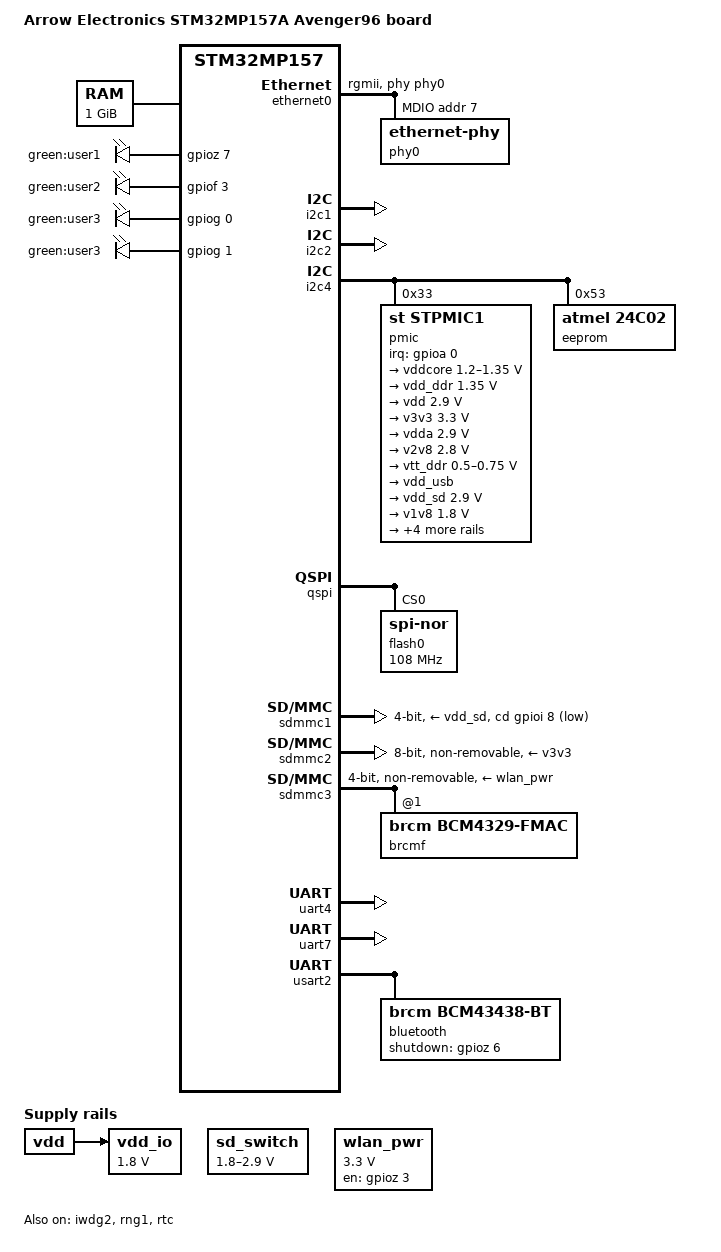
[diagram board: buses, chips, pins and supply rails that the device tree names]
// SPDX-License-Identifier: (GPL-2.0 OR BSD-3-Clause)
/*
 * Copyright (C) Linaro Ltd 2019 - All Rights Reserved
 * Author: Manivannan Sadhasivam <manivannan.sadhasivam@linaro.org>
 */

/dts-v1/;

#include "stm32mp157.dtsi"
#include "stm32mp15-pinctrl.dtsi"
#include "stm32mp15xxac-pinctrl.dtsi"
#include <dt-bindings/gpio/gpio.h>
#include <dt-bindings/mfd/st,stpmic1.h>

/ {
	model = "Arrow Electronics STM32MP157A Avenger96 board";
	compatible = "arrow,stm32mp157a-avenger96", "st,stm32mp157";

	aliases {
		ethernet0 = &ethernet0;
		mmc0 = &sdmmc1;
		serial0 = &uart4;
		serial1 = &uart7;
		serial2 = &usart2;
		spi0 = &qspi;
	};

	chosen {
		stdout-path = "serial0:115200n8";
	};

	memory@c0000000 {
		device_type = "memory";
		reg = <0xc0000000 0x40000000>;
	};

	led {
		compatible = "gpio-leds";
		led1 {
			label = "green:user1";
			gpios = <&gpioz 7 GPIO_ACTIVE_HIGH>;
			linux,default-trigger = "heartbeat";
			default-state = "off";
		};

		led2 {
			label = "green:user2";
			gpios = <&gpiof 3 GPIO_ACTIVE_HIGH>;
			linux,default-trigger = "mmc0";
			default-state = "off";
		};

		led3 {
			label = "green:user3";
			gpios = <&gpiog 0 GPIO_ACTIVE_HIGH>;
			linux,default-trigger = "mmc1";
			default-state = "off";
		};

		led4 {
			label = "green:user3";
			gpios = <&gpiog 1 GPIO_ACTIVE_HIGH>;
			linux,default-trigger = "none";
			default-state = "off";
			panic-indicator;
		};
	};

	sd_switch: regulator-sd_switch {
		compatible = "regulator-gpio";
		regulator-name = "sd_switch";
		regulator-min-microvolt = <1800000>;
		regulator-max-microvolt = <2900000>;
		regulator-type = "voltage";
		regulator-always-on;

		gpios = <&gpioi 5 GPIO_ACTIVE_HIGH>;
		gpios-states = <0>;
		states = <1800000 0x1>,
			 <2900000 0x0>;
	};

	/* Enpirion EP3A8LQI U2 on the DHCOR */
	vdd_io: regulator-buck-io {
		compatible = "regulator-fixed";
		regulator-name = "buck-io";
		regulator-min-microvolt = <1800000>;
		regulator-max-microvolt = <1800000>;
		regulator-always-on;
		regulator-boot-on;
		vin-supply = <&vdd>;
	};

	wlan_pwr: regulator-wlan {
		compatible = "regulator-fixed";

		regulator-name = "wl-reg";
		regulator-min-microvolt = <3300000>;
		regulator-max-microvolt = <3300000>;

		gpios = <&gpioz 3 GPIO_ACTIVE_HIGH>;
		enable-active-high;
	};
};

&ethernet0 {
	status = "okay";
	pinctrl-0 = <&ethernet0_rgmii_pins_c>;
	pinctrl-1 = <&ethernet0_rgmii_sleep_pins_c>;
	pinctrl-names = "default", "sleep";
	phy-mode = "rgmii";
	max-speed = <1000>;
	phy-handle = <&phy0>;

	mdio0 {
		#address-cells = <1>;
		#size-cells = <0>;
		compatible = "snps,dwmac-mdio";
		reset-gpios = <&gpioz 2 GPIO_ACTIVE_LOW>;
		reset-delay-us = <1000>;

		phy0: ethernet-phy@7 {
			reg = <7>;

			rxc-skew-ps = <1500>;
			rxdv-skew-ps = <540>;
			rxd0-skew-ps = <420>;
			rxd1-skew-ps = <420>;
			rxd2-skew-ps = <420>;
			rxd3-skew-ps = <420>;

			txc-skew-ps = <1440>;
			txen-skew-ps = <540>;
			txd0-skew-ps = <420>;
			txd1-skew-ps = <420>;
			txd2-skew-ps = <420>;
			txd3-skew-ps = <420>;
		};
	};
};

&i2c1 {
	pinctrl-names = "default";
	pinctrl-0 = <&i2c1_pins_b>;
	i2c-scl-rising-time-ns = <185>;
	i2c-scl-falling-time-ns = <20>;
	status = "okay";
	/delete-property/dmas;
	/delete-property/dma-names;
};

&i2c2 {
	pinctrl-names = "default";
	pinctrl-0 = <&i2c2_pins_b1 &i2c2_pins_b2>;
	i2c-scl-rising-time-ns = <185>;
	i2c-scl-falling-time-ns = <20>;
	status = "okay";
	/delete-property/dmas;
	/delete-property/dma-names;
};

&i2c4 {
	pinctrl-names = "default";
	pinctrl-0 = <&i2c4_pins_a>;
	i2c-scl-rising-time-ns = <185>;
	i2c-scl-falling-time-ns = <20>;
	status = "okay";
	/delete-property/dmas;
	/delete-property/dma-names;

	pmic: stpmic@33 {
		compatible = "st,stpmic1";
		reg = <0x33>;
		interrupts-extended = <&gpioa 0 IRQ_TYPE_EDGE_FALLING>;
		interrupt-controller;
		#interrupt-cells = <2>;
		status = "okay";

		regulators {
			compatible = "st,stpmic1-regulators";

			ldo1-supply = <&v3v3>;
			ldo2-supply = <&v3v3>;
			ldo3-supply = <&vdd_ddr>;
			ldo5-supply = <&v3v3>;
			ldo6-supply = <&v3v3>;
			pwr_sw1-supply = <&bst_out>;
			pwr_sw2-supply = <&bst_out>;

			vddcore: buck1 {
				regulator-name = "vddcore";
				regulator-min-microvolt = <1200000>;
				regulator-max-microvolt = <1350000>;
				regulator-always-on;
				regulator-initial-mode = <0>;
				regulator-over-current-protection;
			};

			vdd_ddr: buck2 {
				regulator-name = "vdd_ddr";
				regulator-min-microvolt = <1350000>;
				regulator-max-microvolt = <1350000>;
				regulator-always-on;
				regulator-initial-mode = <0>;
				regulator-over-current-protection;
			};

			vdd: buck3 {
				regulator-name = "vdd";
				regulator-min-microvolt = <2900000>;
				regulator-max-microvolt = <2900000>;
				regulator-always-on;
				regulator-initial-mode = <0>;
				regulator-over-current-protection;
			};

			v3v3: buck4 {
				regulator-name = "v3v3";
				regulator-min-microvolt = <3300000>;
				regulator-max-microvolt = <3300000>;
				regulator-always-on;
				regulator-over-current-protection;
				regulator-initial-mode = <0>;
			};

			vdda: ldo1 {
				regulator-name = "vdda";
				regulator-min-microvolt = <2900000>;
				regulator-max-microvolt = <2900000>;
				interrupts = <IT_CURLIM_LDO1 0>;
			};

			v2v8: ldo2 {
				regulator-name = "v2v8";
				regulator-min-microvolt = <2800000>;
				regulator-max-microvolt = <2800000>;
				interrupts = <IT_CURLIM_LDO2 0>;
			};

			vtt_ddr: ldo3 {
				regulator-name = "vtt_ddr";
				regulator-min-microvolt = <500000>;
				regulator-max-microvolt = <750000>;
				regulator-always-on;
				regulator-over-current-protection;
			};

			vdd_usb: ldo4 {
				regulator-name = "vdd_usb";
				interrupts = <IT_CURLIM_LDO4 0>;
			};

			vdd_sd: ldo5 {
				regulator-name = "vdd_sd";
				regulator-min-microvolt = <2900000>;
				regulator-max-microvolt = <2900000>;
				interrupts = <IT_CURLIM_LDO5 0>;
				regulator-boot-on;
			};

			v1v8: ldo6 {
				regulator-name = "v1v8";
				regulator-min-microvolt = <1800000>;
				regulator-max-microvolt = <1800000>;
				interrupts = <IT_CURLIM_LDO6 0>;
				regulator-enable-ramp-delay = <300000>;
			};

			vref_ddr: vref_ddr {
				regulator-name = "vref_ddr";
				regulator-always-on;
			};

			bst_out: boost {
				regulator-name = "bst_out";
				interrupts = <IT_OCP_BOOST 0>;
			};

			vbus_otg: pwr_sw1 {
				regulator-name = "vbus_otg";
				interrupts = <IT_OCP_OTG 0>;
				regulator-active-discharge = <1>;
			};

			vbus_sw: pwr_sw2 {
				regulator-name = "vbus_sw";
				interrupts = <IT_OCP_SWOUT 0>;
				regulator-active-discharge = <1>;
			};
		};

		onkey {
			compatible = "st,stpmic1-onkey";
			interrupts = <IT_PONKEY_F 0>, <IT_PONKEY_R 1>;
			interrupt-names = "onkey-falling", "onkey-rising";
			status = "okay";
		};

		watchdog {
			compatible = "st,stpmic1-wdt";
			status = "disabled";
		};
	};

	eeprom@53 {
		compatible = "atmel,24c02";
		reg = <0x53>;
		pagesize = <16>;
	};
};

&iwdg2 {
	timeout-sec = <32>;
	status = "okay";
};

&pwr_regulators {
	vdd-supply = <&vdd_io>;
	vdd_3v3_usbfs-supply = <&vdd_usb>;
};

&qspi {
	pinctrl-names = "default", "sleep";
	pinctrl-0 = <&qspi_clk_pins_a &qspi_bk1_pins_a>;
	pinctrl-1 = <&qspi_clk_sleep_pins_a &qspi_bk1_sleep_pins_a>;
	reg = <0x58003000 0x1000>, <0x70000000 0x200000>;
	#address-cells = <1>;
	#size-cells = <0>;
	status = "okay";

	flash0: spi-flash@0 {
		compatible = "jedec,spi-nor";
		reg = <0>;
		spi-rx-bus-width = <4>;
		spi-max-frequency = <108000000>;
		#address-cells = <1>;
		#size-cells = <1>;
	};
};

&rng1 {
	status = "okay";
};

&rtc {
	status = "okay";
};

&sdmmc1 {
	pinctrl-names = "default", "opendrain", "sleep";
	pinctrl-0 = <&sdmmc1_b4_pins_a &sdmmc1_dir_pins_b>;
	pinctrl-1 = <&sdmmc1_b4_od_pins_a &sdmmc1_dir_pins_b>;
	pinctrl-2 = <&sdmmc1_b4_sleep_pins_a &sdmmc1_dir_sleep_pins_b>;
	cd-gpios = <&gpioi 8 (GPIO_ACTIVE_LOW | GPIO_PULL_UP)>;
	disable-wp;
	st,sig-dir;
	st,neg-edge;
	st,use-ckin;
	bus-width = <4>;
	vmmc-supply = <&vdd_sd>;
	vqmmc-supply = <&sd_switch>;
	status = "okay";
};

&sdmmc2 {
	pinctrl-names = "default", "opendrain", "sleep";
	pinctrl-0 = <&sdmmc2_b4_pins_a &sdmmc2_d47_pins_b>;
	pinctrl-1 = <&sdmmc2_b4_od_pins_a &sdmmc2_d47_pins_b>;
	pinctrl-2 = <&sdmmc2_b4_sleep_pins_a &sdmmc2_d47_sleep_pins_b>;
	bus-width = <8>;
	mmc-ddr-1_8v;
	no-sd;
	no-sdio;
	non-removable;
	st,neg-edge;
	vmmc-supply = <&v3v3>;
	vqmmc-supply = <&vdd_io>;
	status = "okay";
};

&sdmmc3 {
	pinctrl-names = "default", "opendrain", "sleep";
	pinctrl-0 = <&sdmmc3_b4_pins_b>;
	pinctrl-1 = <&sdmmc3_b4_od_pins_b>;
	pinctrl-2 = <&sdmmc3_b4_sleep_pins_b>;
	broken-cd;
	non-removable;
	st,neg-edge;
	bus-width = <4>;
	vmmc-supply = <&wlan_pwr>;
	status = "okay";

	#address-cells = <1>;
	#size-cells = <0>;
	brcmf: bcrmf@1 {
		reg = <1>;
		compatible = "brcm,bcm4329-fmac";
	};
};

&uart4 {
	/* On Low speed expansion header */
	label = "LS-UART1";
	pinctrl-names = "default";
	pinctrl-0 = <&uart4_pins_b>;
	status = "okay";
};

&uart7 {
	/* On Low speed expansion header */
	label = "LS-UART0";
	pinctrl-names = "default";
	pinctrl-0 = <&uart7_pins_a>;
	status = "okay";
};

/* Bluetooth */
&usart2 {
	pinctrl-names = "default", "sleep";
	pinctrl-0 = <&usart2_pins_a>;
	pinctrl-1 = <&usart2_sleep_pins_a>;
	st,hw-flow-ctrl;
	status = "okay";

	bluetooth {
		compatible = "brcm,bcm43438-bt";
		max-speed = <3000000>;
		shutdown-gpios = <&gpioz 6 GPIO_ACTIVE_HIGH>;
	};
};
